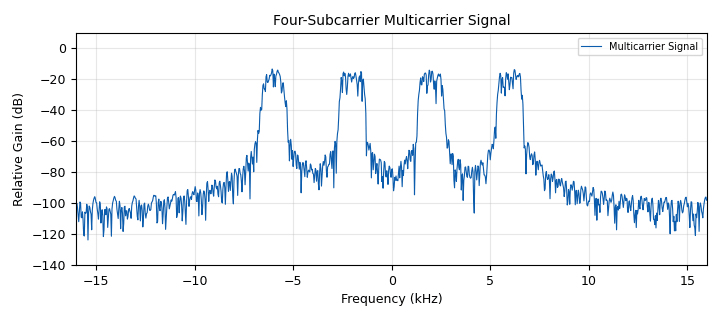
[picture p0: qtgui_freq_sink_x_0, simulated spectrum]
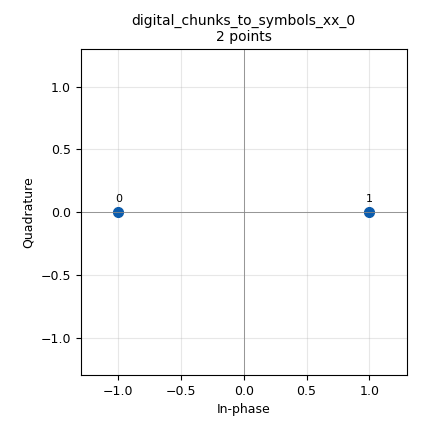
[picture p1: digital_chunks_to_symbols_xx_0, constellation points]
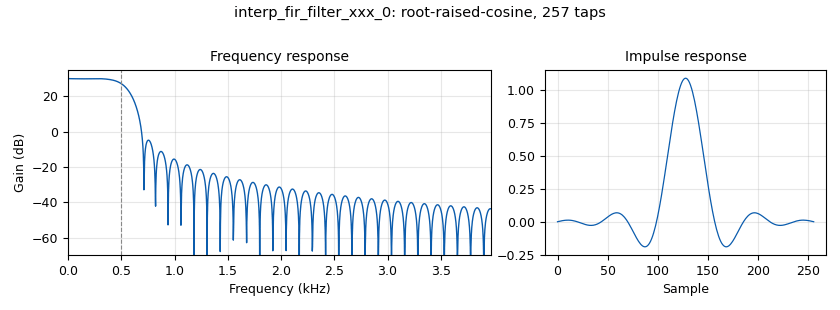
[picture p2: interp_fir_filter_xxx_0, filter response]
options:
  parameters:
    author: Dhrubjun
    generate_options: qt_gui
    id: exp2
    output_language: python
    title: Combined Multicarrier Waveform
  states: {}

blocks:
- name: alpha
  id: variable
  parameters:
    value: '0.35'
  states: {}
- name: ntaps
  id: variable
  parameters:
    value: span * sps + 1
  states: {}
- name: samp_rate
  id: variable
  parameters:
    value: '32000'
  states: {}
- name: span
  id: variable
  parameters:
    value: '8'
  states: {}
- name: sps
  id: variable
  parameters:
    value: int(samp_rate / symbol_rate)
  states: {}
- name: symbol_rate
  id: variable
  parameters:
    value: '1000'
  states: {}
- name: analog_random_source_x_0
  id: analog_random_source_x
  parameters:
    max: '2'
    min: '0'
    num_samps: '1000'
    repeat: 'True'
    type: byte
  states: {}
- name: analog_random_source_x_0_0
  id: analog_random_source_x
  parameters:
    max: '2'
    min: '0'
    num_samps: '1000'
    repeat: 'True'
    type: byte
  states: {}
- name: analog_random_source_x_0_0_0
  id: analog_random_source_x
  parameters:
    max: '2'
    min: '0'
    num_samps: '1000'
    repeat: 'True'
    type: byte
  states: {}
- name: analog_random_source_x_0_0_1
  id: analog_random_source_x
  parameters:
    max: '2'
    min: '0'
    num_samps: '1000'
    repeat: 'True'
    type: byte
  states: {}
- name: analog_random_source_x_0_0_2
  id: analog_random_source_x
  parameters:
    max: '2'
    min: '0'
    num_samps: '1000'
    repeat: 'True'
    type: byte
  states: {}
- name: analog_random_source_x_0_1
  id: analog_random_source_x
  parameters:
    max: '2'
    min: '0'
    num_samps: '1000'
    repeat: 'True'
    type: byte
  states: {}
- name: analog_random_source_x_0_2
  id: analog_random_source_x
  parameters:
    max: '2'
    min: '0'
    num_samps: '1000'
    repeat: 'True'
    type: byte
  states: {}
- name: analog_random_source_x_0_3
  id: analog_random_source_x
  parameters:
    max: '2'
    min: '0'
    num_samps: '1000'
    repeat: 'True'
    type: byte
  states: {}
- name: analog_sig_source_x_0
  id: analog_sig_source_x
  parameters:
    amp: '1'
    freq: '-6000'
    offset: '0'
    phase: '0'
    samp_rate: samp_rate
    type: complex
    waveform: analog.GR_COS_WAVE
  states: {}
- name: analog_sig_source_x_0_0
  id: analog_sig_source_x
  parameters:
    amp: '1'
    freq: '-2000'
    offset: '0'
    phase: '0'
    samp_rate: samp_rate
    type: complex
    waveform: analog.GR_COS_WAVE
  states: {}
- name: analog_sig_source_x_0_1
  id: analog_sig_source_x
  parameters:
    amp: '1'
    freq: '2000'
    offset: '0'
    phase: '0'
    samp_rate: samp_rate
    type: complex
    waveform: analog.GR_COS_WAVE
  states: {}
- name: analog_sig_source_x_0_2
  id: analog_sig_source_x
  parameters:
    amp: '1'
    freq: '6000'
    offset: '0'
    phase: '0'
    samp_rate: samp_rate
    type: complex
    waveform: analog.GR_COS_WAVE
  states: {}
- name: blocks_add_xx_0
  id: blocks_add_xx
  parameters:
    num_inputs: '4'
    type: complex
  states: {}
- name: blocks_float_to_complex_0
  id: blocks_float_to_complex
  parameters: {}
  states: {}
- name: blocks_float_to_complex_0_0
  id: blocks_float_to_complex
  parameters: {}
  states: {}
- name: blocks_float_to_complex_0_1
  id: blocks_float_to_complex
  parameters: {}
  states: {}
- name: blocks_float_to_complex_0_2
  id: blocks_float_to_complex
  parameters: {}
  states: {}
- name: blocks_multiply_xx_0
  id: blocks_multiply_xx
  parameters:
    type: complex
  states: {}
- name: blocks_multiply_xx_0_0
  id: blocks_multiply_xx
  parameters:
    type: complex
  states: {}
- name: blocks_multiply_xx_0_1
  id: blocks_multiply_xx
  parameters:
    type: complex
  states: {}
- name: blocks_multiply_xx_0_2
  id: blocks_multiply_xx
  parameters:
    type: complex
  states: {}
- name: blocks_throttle2_0
  id: blocks_throttle2
  parameters:
    samples_per_second: samp_rate
    type: complex
  states: {}
- name: digital_chunks_to_symbols_xx_0
  id: digital_chunks_to_symbols_xx
  parameters:
    dimension: '1'
    in_type: byte
    out_type: float
    symbol_table: '[-1,1]'
  states: {}
- name: digital_chunks_to_symbols_xx_0_0
  id: digital_chunks_to_symbols_xx
  parameters:
    dimension: '1'
    in_type: byte
    out_type: float
    symbol_table: '[-1,1]'
  states: {}
- name: digital_chunks_to_symbols_xx_0_0_0
  id: digital_chunks_to_symbols_xx
  parameters:
    dimension: '1'
    in_type: byte
    out_type: float
    symbol_table: '[-1,1]'
  states: {}
- name: digital_chunks_to_symbols_xx_0_0_1
  id: digital_chunks_to_symbols_xx
  parameters:
    dimension: '1'
    in_type: byte
    out_type: float
    symbol_table: '[-1,1]'
  states: {}
- name: digital_chunks_to_symbols_xx_0_0_2
  id: digital_chunks_to_symbols_xx
  parameters:
    dimension: '1'
    in_type: byte
    out_type: float
    symbol_table: '[-1,1]'
  states: {}
- name: digital_chunks_to_symbols_xx_0_1
  id: digital_chunks_to_symbols_xx
  parameters:
    dimension: '1'
    in_type: byte
    out_type: float
    symbol_table: '[-1,1]'
  states: {}
- name: digital_chunks_to_symbols_xx_0_2
  id: digital_chunks_to_symbols_xx
  parameters:
    dimension: '1'
    in_type: byte
    out_type: float
    symbol_table: '[-1,1]'
  states: {}
- name: digital_chunks_to_symbols_xx_0_3
  id: digital_chunks_to_symbols_xx
  parameters:
    dimension: '1'
    in_type: byte
    out_type: float
    symbol_table: '[-1,1]'
  states: {}
- name: interp_fir_filter_xxx_0
  id: interp_fir_filter_xxx
  parameters:
    interp: sps
    taps: firdes.root_raised_cosine(sps, samp_rate, symbol_rate, alpha, ntaps)
    type: ccf
  states: {}
- name: interp_fir_filter_xxx_0_0
  id: interp_fir_filter_xxx
  parameters:
    interp: sps
    taps: firdes.root_raised_cosine(sps, samp_rate, symbol_rate, alpha, ntaps)
    type: ccf
  states: {}
- name: interp_fir_filter_xxx_0_1
  id: interp_fir_filter_xxx
  parameters:
    interp: sps
    taps: firdes.root_raised_cosine(sps, samp_rate, symbol_rate, alpha, ntaps)
    type: ccf
  states: {}
- name: interp_fir_filter_xxx_0_2
  id: interp_fir_filter_xxx
  parameters:
    interp: sps
    taps: firdes.root_raised_cosine(sps, samp_rate, symbol_rate, alpha, ntaps)
    type: ccf
  states: {}
- name: qtgui_freq_sink_x_0
  id: qtgui_freq_sink_x
  parameters:
    bw: samp_rate
    color1: '"red"'
    fc: '0'
    fftsize: '1024'
    label1: Multicarrier Signal
    name: Four-Subcarrier Multicarrier Signal
    type: complex
    width1: '2'
  states: {}

connections:
- [analog_random_source_x_0, '0', digital_chunks_to_symbols_xx_0, '0']
- [analog_random_source_x_0_0, '0', digital_chunks_to_symbols_xx_0_0, '0']
- [analog_random_source_x_0_0_0, '0', digital_chunks_to_symbols_xx_0_0_0, '0']
- [analog_random_source_x_0_0_1, '0', digital_chunks_to_symbols_xx_0_0_1, '0']
- [analog_random_source_x_0_0_2, '0', digital_chunks_to_symbols_xx_0_0_2, '0']
- [analog_random_source_x_0_1, '0', digital_chunks_to_symbols_xx_0_1, '0']
- [analog_random_source_x_0_2, '0', digital_chunks_to_symbols_xx_0_2, '0']
- [analog_random_source_x_0_3, '0', digital_chunks_to_symbols_xx_0_3, '0']
- [analog_sig_source_x_0, '0', blocks_multiply_xx_0, '1']
- [analog_sig_source_x_0_0, '0', blocks_multiply_xx_0_0, '1']
- [analog_sig_source_x_0_1, '0', blocks_multiply_xx_0_1, '1']
- [analog_sig_source_x_0_2, '0', blocks_multiply_xx_0_2, '1']
- [blocks_add_xx_0, '0', blocks_throttle2_0, '0']
- [blocks_float_to_complex_0, '0', interp_fir_filter_xxx_0, '0']
- [blocks_float_to_complex_0_0, '0', interp_fir_filter_xxx_0_0, '0']
- [blocks_float_to_complex_0_1, '0', interp_fir_filter_xxx_0_1, '0']
- [blocks_float_to_complex_0_2, '0', interp_fir_filter_xxx_0_2, '0']
- [blocks_multiply_xx_0, '0', blocks_add_xx_0, '0']
- [blocks_multiply_xx_0_0, '0', blocks_add_xx_0, '1']
- [blocks_multiply_xx_0_1, '0', blocks_add_xx_0, '2']
- [blocks_multiply_xx_0_2, '0', blocks_add_xx_0, '3']
- [blocks_throttle2_0, '0', qtgui_freq_sink_x_0, '0']
- [digital_chunks_to_symbols_xx_0, '0', blocks_float_to_complex_0, '0']
- [digital_chunks_to_symbols_xx_0_0, '0', blocks_float_to_complex_0, '1']
- [digital_chunks_to_symbols_xx_0_0_0, '0', blocks_float_to_complex_0_0, '1']
- [digital_chunks_to_symbols_xx_0_0_1, '0', blocks_float_to_complex_0_1, '1']
- [digital_chunks_to_symbols_xx_0_0_2, '0', blocks_float_to_complex_0_2, '1']
- [digital_chunks_to_symbols_xx_0_1, '0', blocks_float_to_complex_0_0, '0']
- [digital_chunks_to_symbols_xx_0_2, '0', blocks_float_to_complex_0_1, '0']
- [digital_chunks_to_symbols_xx_0_3, '0', blocks_float_to_complex_0_2, '0']
- [interp_fir_filter_xxx_0, '0', blocks_multiply_xx_0, '0']
- [interp_fir_filter_xxx_0_0, '0', blocks_multiply_xx_0_0, '0']
- [interp_fir_filter_xxx_0_1, '0', blocks_multiply_xx_0_1, '0']
- [interp_fir_filter_xxx_0_2, '0', blocks_multiply_xx_0_2, '0']

metadata:
  file_format: 1
  grc_version: 3.10.12.0
